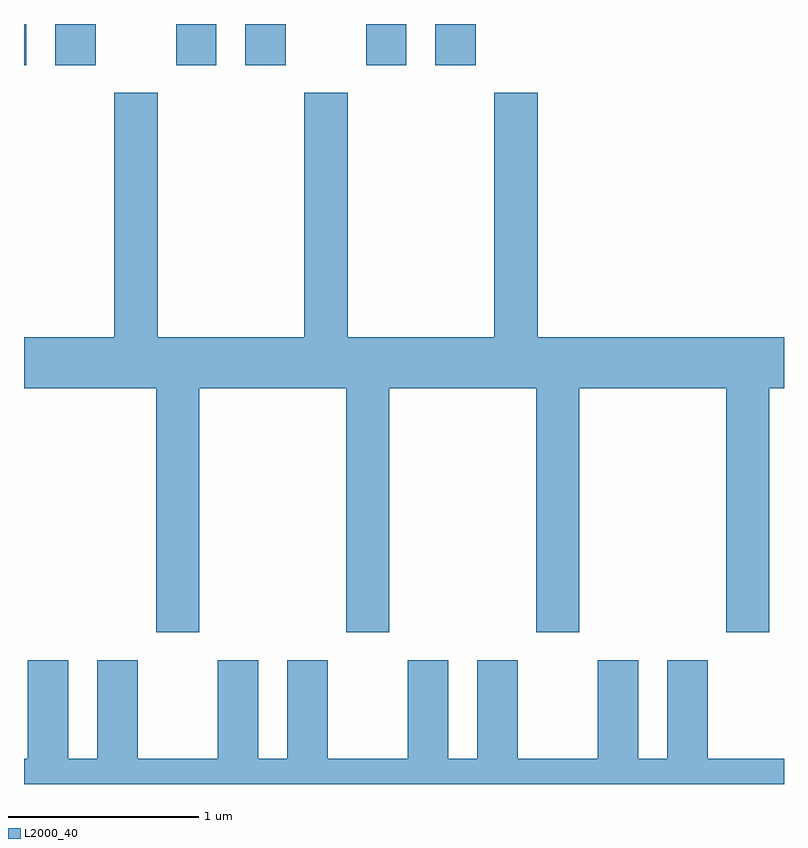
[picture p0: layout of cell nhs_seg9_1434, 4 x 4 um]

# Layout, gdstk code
import gdstk
lib = gdstk.Library(unit=1e-6, precision=1e-09)
def R(c, l, rs):  # rectangles x0, y0, x1, y1
    for r in rs: c.add(gdstk.rectangle(r[:2], r[2:], *l))
def P(c, l, *ps):  # polygons
    for p in ps: c.add(gdstk.Polygon(p, *l))
L2000_40 = (2000, 40)

nhs_seg9_1434 = lib.new_cell('nhs_seg9_1434')
R(nhs_seg9_1434, L2000_40, [(227.611,1960.216,227.624,1960.432), (227.776,1960.216,227.989,1960.432), (228.411,1960.216,228.624,1960.432), (228.776,1960.216,228.989,1960.432), (229.411,1960.216,229.624,1960.432), (229.776,1960.216,229.989,1960.432)])
P(nhs_seg9_1434, L2000_40, [(228.534,1958.516),(229.306,1958.516),(229.306,1957.231),(229.534,1957.231),(229.534,1958.516),(230.306,1958.516),(230.306,1957.231),(230.534,1957.231),(230.534,1958.516),(231.306,1958.516),(231.306,1957.231),(231.534,1957.231),(231.534,1958.516),(231.611,1958.516),(231.611,1958.784),(230.314,1958.784),(230.314,1960.069),(230.086,1960.069),(230.086,1958.784),(229.314,1958.784),(229.314,1960.069),(229.086,1960.069),(229.086,1958.784),(228.314,1958.784),(228.314,1960.069),(228.086,1960.069),(228.086,1958.784),(227.611,1958.784),(227.611,1958.516),(228.306,1958.516),(228.306,1957.231),(228.534,1957.231)],
  [(231.611,1956.564),(231.209,1956.564),(231.209,1957.084),(230.996,1957.084),(230.996,1956.564),(230.844,1956.564),(230.844,1957.084),(230.631,1957.084),(230.631,1956.564),(230.209,1956.564),(230.209,1957.084),(229.996,1957.084),(229.996,1956.564),(229.844,1956.564),(229.844,1957.084),(229.631,1957.084),(229.631,1956.564),(229.209,1956.564),(229.209,1957.084),(228.996,1957.084),(228.996,1956.564),(228.844,1956.564),(228.844,1957.084),(228.631,1957.084),(228.631,1956.564),(228.209,1956.564),(228.209,1957.084),(227.996,1957.084),(227.996,1956.564),(227.844,1956.564),(227.844,1957.084),(227.631,1957.084),(227.631,1956.564),(227.611,1956.564),(227.611,1956.432),(231.611,1956.432)])

lib.write_gds('nhs_seg9_1434.gds')
